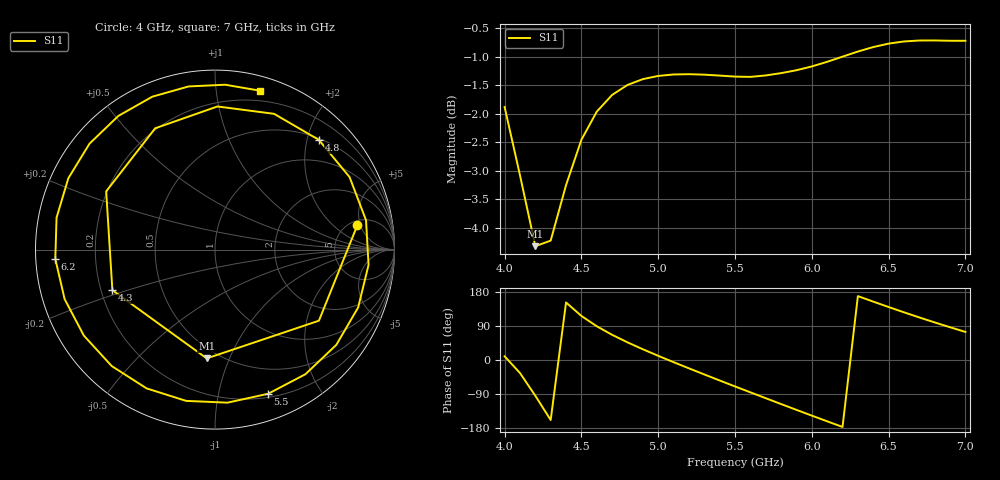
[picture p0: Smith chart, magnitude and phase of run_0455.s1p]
! Touchstone file exported from HFSS 2024.2.0
!  File:  C:/Users/wsak9/Desktop/Sim Fast/Widenad Patch/WP_AI_V1_sweep.aedt
!  Generated:  10:48:15 AM Oct 14, 2026
!  Design:  A1_model
!  Project:  WP_AI_V1_sweep
!  Setup:  Setup1
!  Solution:  Sweep
! Variables:
!  Air_gap = 4.09mm
!  Curve_Amp1 = 0.8
!  Curve_len1 = 1
!  Curve_pos = 13.32mm
!  Extra = 4.61mm
!  H_sub = 0.79mm
!  L_Patch = 22.64mm
!  L_Patch1 = 13.59mm
!  Sx = 1.15mm
!  Sy = 2.93mm
!  WS = 1.02mm
!  W_Patch = 16.54mm
!  W_Patch1 = 8.98mm
!Data is not renormalized
# GHz S MA
! Terminal data exported
! Port[1] = 1
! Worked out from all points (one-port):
!   31 points, 4 GHz to 7 GHz, reference per port
!   lowest |S11| = -4.3 dB at 4.2 GHz (marker M1), VSWR 4.10
!   |S11| at or under -10 dB: nowhere
!   S11 on the Smith chart (normalised r, x): 4 GHz: 5.73, +4.46; 4.3 GHz: 0.25, -0.18; 4.8 GHz: 0.53, +2.22; 5.5 GHz: 0.23, -1.41; 6.2 GHz: 0.06, -0.03; 7 GHz: 0.11, +1.32
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4  0.8052 9.8
4.1  0.7016 -34.4
4.2  0.6079 -94.3
4.3  0.6148 -158.4
4.4  0.6877 151.8
4.5  0.7536 116.2
4.6  0.7976 89.0
4.7  0.825 66.5
4.8  0.8418 46.6
4.9  0.8517 28.3
5  0.8572 11.0
5.1  0.8598 -5.7
5.2  0.8603 -22.0
5.3  0.8594 -38.1
5.4  0.8578 -54.0
5.5  0.8561 -69.8
5.6  0.8556 -85.3
5.7  0.8581 -100.8
5.8  0.8621 -116.2
5.9  0.8672 -131.6
6.1  0.882 -161.8
6.2  0.8913 -176.7
6.3  0.9005 168.6
6.4  0.9087 154.1
6.5  0.915 139.8
6.7  0.9208 112.3
6.8  0.9209 99.2
7  0.9203 74.1
